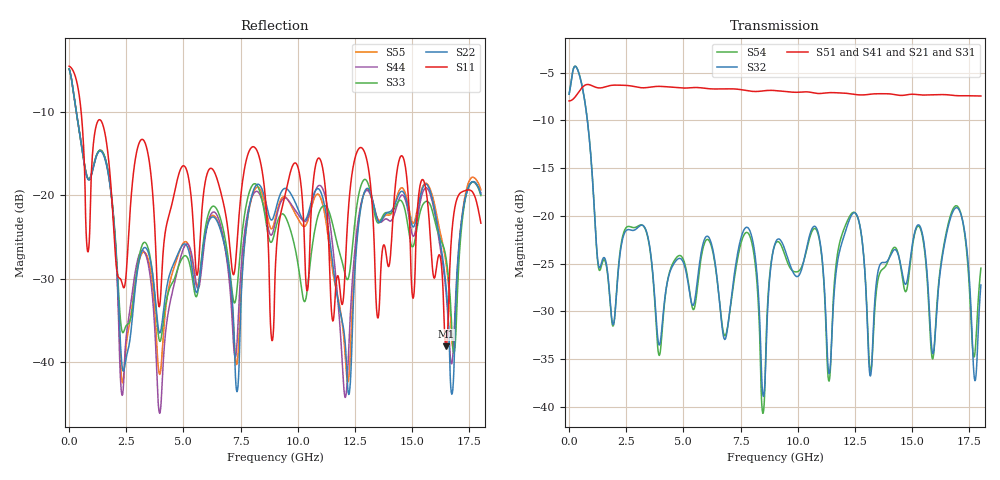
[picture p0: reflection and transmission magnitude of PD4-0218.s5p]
! MARKI MICROWAVE INC.
! Email:  info@markimicrowave.com  Phone:  408-778-4200
! Model Number:  PD4-0218  Date:  11/12
! Filename:		PD4_0218.S5P  Version: 1.0
! Description:  5-port S-parameter data for 4 Way Power Divider PD4-0218
! Frequency Range: 	10 MHz to 18 GHz
! Port Configuration:	PORT 1: COMMON
!  PORT 2: Output 1
!  Port 3: Output 2
!  Port 4: Output 3
!  Port 5: Output 4
! S5P File: Measurements: Mag<S11> Ang<S11> Mag<S12> Ang<S12> Mag<S13> Ang<S13> Mag<S14> Ang<S14> ! row 1
!  Mag<S15> Ang<S15>
!  Mag<S21> Ang<S21> Mag<S22> Ang<S22> Mag<S23> Ang<S23> Mag<S24> Ang<S24> ! row 2
!  Mag<S25> Ang<S25>
!  Mag<S31> Ang<S31> Mag<S32> Ang<S32> Mag<S33> Ang<S33> Mag<S34> Ang<S34> ! row 3
!  Mag<S35> Ang<S35>
!  Mag<S41> Ang<S41> Mag<S42> Ang<S42> Mag<S43> Ang<S43> Mag<S44> Ang<S44> ! row 4
!  Mag<S45> Ang<S45>
!  Mag<S51> Ang<S51> Mag<S52> Ang<S52> Mag<S53> Ang<S53> Mag<S54> Ang<S54> ! row 5
!  Mag<S55> Ang<S55>
# GHz S DB R 50
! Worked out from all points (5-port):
!   801 points, 10 MHz to 18 GHz, reference 50 ohm
!   strongest paths, dB at 10 MHz, 4.51 GHz, 9.01 GHz, 13.51 GHz, 18 GHz:
!     S51: -8.0, -6.5, -6.9, -7.2, -7.5
!     S41: -8.0, -6.5, -6.9, -7.2, -7.5
!     S21: -8.0, -6.5, -6.9, -7.2, -7.5
!     S31: -8.0, -6.6, -7.0, -7.5, -7.8
!     S32: -7.3, -25.3, -22.9, -25.8, -27.2
!     S54: -7.2, -25.1, -23.0, -26.6, -25.5
!   lowest |S11| = -38.1 dB at 16.48 GHz (marker M1), VSWR 1.03, Z = 50.1 + j1.24 ohm
!   |S11| at or under -10 dB: 534.4 MHz to end of sweep
